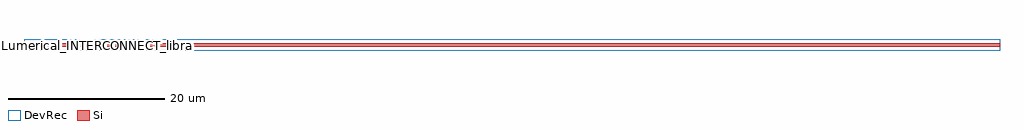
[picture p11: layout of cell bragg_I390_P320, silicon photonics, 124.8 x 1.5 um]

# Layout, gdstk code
import gdstk
lib = gdstk.Library(unit=1e-6, precision=1e-09)
def R(c, l, rs):  # rectangles x0, y0, x1, y1
    for r in rs: c.add(gdstk.rectangle(r[:2], r[2:], *l))
def A(c, l, x, y, w, h, nx, ny, dx, dy):  # array of equal rectangles
    R(c, l, [(x+i*dx, y+j*dy, x+i*dx+w, y+j*dy+h) for i in range(nx) for j in range(ny)])
Si = (1, 0)
DevRec = (68, 0)

bragg_i390_p320 = lib.new_cell('bragg_I390_P320')
A(bragg_i390_p320, Si, 0, -0.255, 0.16, 0.255, 390, 2, 0.32, 0.255)
A(bragg_i390_p320, Si, 0.16, -0.245, 0.16, 0.245, 390, 2, 0.32, 0.245)
R(bragg_i390_p320, DevRec, [(0,-0.75,124.8,0.75)])
bragg_i390_p320.add(gdstk.Label('Lumerical_INTERCONNECT_library=Design kits/ebeam', (0,0), layer=68, texttype=0))
bragg_i390_p320.add(gdstk.Label('Component=ebeam_bragg_te1550', (12.48,0), layer=68, texttype=0))
bragg_i390_p320.add(gdstk.Label('Spice_param:number_of_periods=390 grating_period=3.2e-07 corrugation_width=1e-08 misalignment=0 sinusoidal=0', (13.866,0), layer=68, texttype=0))

lib.write_gds('bragg_I390_P320.gds')
